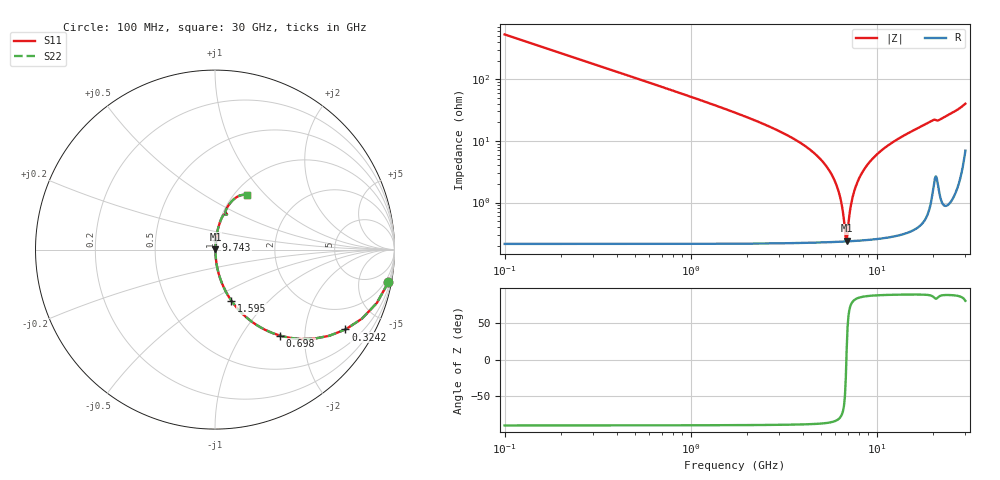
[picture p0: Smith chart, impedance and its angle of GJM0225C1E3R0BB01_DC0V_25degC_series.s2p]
!Murata Part Number: GJM0225C1E3R0BB01
!These Parameters are Measured in Series Mode Connection
!  o--ll--o
!Port1  Port2
!  o------o
!Operation Temp=25[degC], DC Bias Voltage=0[V]
!Freq. Start=100[MHz] Stop=30[GHz], 401[Steps]
!Data Generated on Feb 1, 2023
# Hz S RI R 50
!Freq.(Hz) S11(Real) S11(Imag) S21(Real) S21(Imag) S12(Real) S12(Imag) S22(Real) S22(Imag)
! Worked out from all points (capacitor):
!   401 points, 100 MHz to 30 GHz, reference 50 ohm
!   read as one part in series: C = 3 pF near 249.5 MHz
!   lowest |Z| = 241 mohm at 6.902 GHz (marker M1)
!   series resonance near 6.876 GHz, so ESL is about 180 pH
!   S11 on the Smith chart (normalised r, x): 100 MHz: 1, -11; 324.2 MHz: 1.00, -3.27; 698 MHz: 1.00, -1.50; 1.595 GHz: 1.00, -0.63; 9.743 GHz: 1.01, +0.11; 30 GHz: 1.14, +0.79
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1e8  0.9656 -0.182  0.0344 0.182  0.0344 0.182  0.9656 -0.182
3.2425e8  0.7269 -0.4449  0.2731 0.4449  0.2731 0.4449  0.7269 -0.4449
6.98e8  0.3618 -0.4791  0.6382 0.4791  0.6382 0.4791  0.3618 -0.4791
1.07175e9  0.1902 -0.3903  0.8098 0.3903  0.8098 0.3903  0.1902 -0.3903
1.595e9  0.0917 -0.2853  0.9083 0.2853  0.9083 0.2853  0.0917 -0.2853
2.9405e9  0.0233 -0.1438  0.9767 0.1438  0.9767 0.1438  0.0233 -0.1438
5.10825e9  0.00441 -0.0463  0.9956 0.0463  0.9956 0.0463  0.00441 -0.0463
5.70625e9  0.00311 -0.0289  0.9969 0.0289  0.9969 0.0289  0.00311 -0.0289
6.15475e9  0.00259 -0.0171  0.9974 0.0171  0.9974 0.0171  0.00259 -0.0171
6.45375e9  0.00241 -0.00977  0.9976 0.00977  0.9976 0.00977  0.00241 -0.00977
6.75275e9  0.00234 -0.00279  0.9977 0.00279  0.9977 0.00279  0.00234 -0.00279
6.90225e9  0.00234 0.000584  0.9977 -0.000584  0.9977 -0.000584  0.00234 0.000584
6.977e9  0.00234 0.00225  0.9977 -0.00225  0.9977 -0.00225  0.00234 0.00225
7.35075e9  0.00247 0.0103  0.9975 -0.0103  0.9975 -0.0103  0.00247 0.0103
7.79925e9  0.00277 0.0195  0.9972 -0.0195  0.9972 -0.0195  0.00277 0.0195
8.6215e9  0.00368 0.0352  0.9963 -0.0352  0.9963 -0.0352  0.00368 0.0352
9.74275e9  0.00555 0.0549  0.9944 -0.0549  0.9944 -0.0549  0.00555 0.0549
1.01165e10  0.00631 0.0611  0.9937 -0.0611  0.9937 -0.0611  0.00631 0.0611
1.505e10  0.0216 0.1337  0.9784 -0.1337  0.9784 -0.1337  0.0216 0.1337
2.005825e10  0.0575 0.2002  0.9425 -0.2002  0.9425 -0.2002  0.0575 0.2002
2.50665e10  0.0796 0.2527  0.9204 -0.2527  0.9204 -0.2527  0.0796 0.2527
3e10  0.1767 0.3035  0.8233 -0.3035  0.8233 -0.3035  0.1767 0.3035
